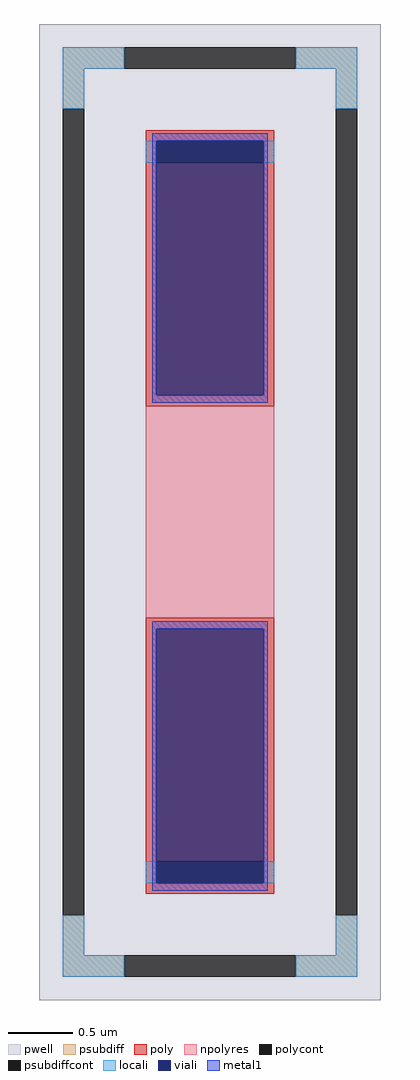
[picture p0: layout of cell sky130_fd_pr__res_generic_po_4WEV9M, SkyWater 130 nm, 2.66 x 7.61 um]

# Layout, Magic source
magic
tech sky130B
magscale 1 2
<< pwell >>
rect -266 -761 266 761
<< psubdiff >>
rect -230 691 -134 725
rect 134 691 230 725
rect -230 629 -196 691
rect 196 629 230 691
rect -230 -691 -196 -629
rect 196 -691 230 -629
rect -230 -725 -134 -691
rect 134 -725 230 -691
<< psubdiffcont >>
rect -134 691 134 725
rect -230 -629 -196 629
rect 196 -629 230 629
rect -134 -725 134 -691
<< poly >>
rect -100 579 100 595
rect -100 545 -84 579
rect 84 545 100 579
rect -100 165 100 545
rect -100 -545 100 -165
rect -100 -579 -84 -545
rect 84 -579 100 -545
rect -100 -595 100 -579
<< polycont >>
rect -84 545 84 579
rect -84 -579 84 -545
<< npolyres >>
rect -100 -165 100 165
<< locali >>
rect -230 691 -134 725
rect 134 691 230 725
rect -230 629 -196 691
rect 196 629 230 691
rect -100 545 -84 579
rect 84 545 100 579
rect -100 -579 -84 -545
rect 84 -579 100 -545
rect -230 -691 -196 -629
rect 196 -691 230 -629
rect -230 -725 -134 -691
rect 134 -725 230 -691
<< viali >>
rect -84 545 84 579
rect -84 182 84 545
rect -84 -545 84 -182
rect -84 -579 84 -545
<< metal1 >>
rect -90 579 90 591
rect -90 182 -84 579
rect 84 182 90 579
rect -90 170 90 182
rect -90 -182 90 -170
rect -90 -579 -84 -182
rect 84 -579 90 -182
rect -90 -591 90 -579
<< properties >>
string FIXED_BBOX -213 -708 213 708
string gencell sky130_fd_pr__res_generic_po
string library sky130
string parameters w 1.0 l 1.650 m 1 nx 1 wmin 0.330 lmin 1.650 rho 48.2 val 48.2 dummy 0 dw 0.0 term 0.0 sterm 0.0 caplen 0.4 snake 0 guard 1 glc 1 grc 1 gtc 1 gbc 1 roverlap 0 endcov 100 full_metal 1 hv_guard 0 n_guard 0 vias 1 viagb 0 viagt 0 viagl 0 viagr 0
<< end >>
